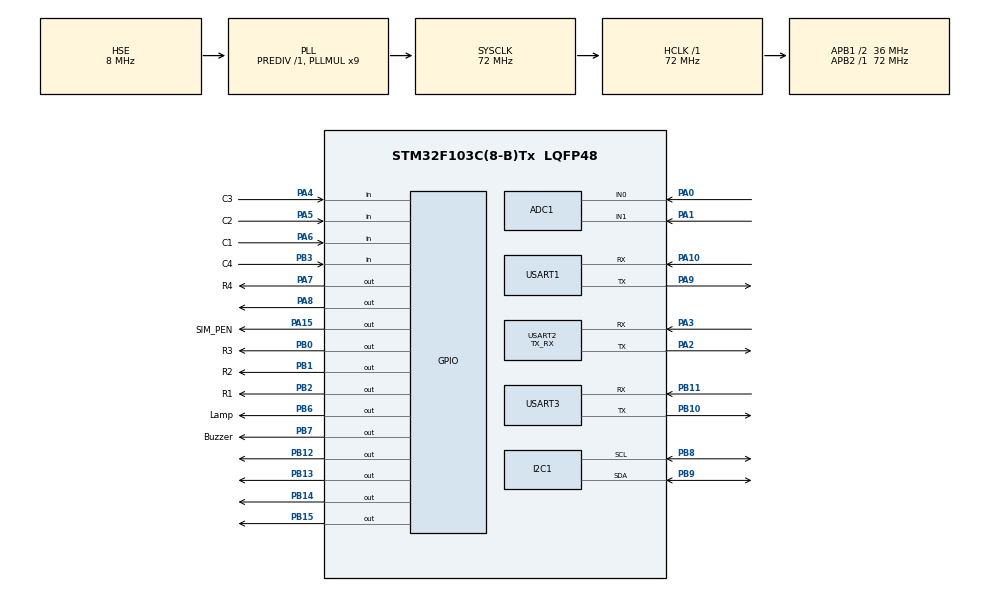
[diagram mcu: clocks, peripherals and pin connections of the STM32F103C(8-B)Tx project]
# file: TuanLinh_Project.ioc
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ADC1.Channel-0\#ChannelRegularConversion=ADC_CHANNEL_0
ADC1.Channel-1\#ChannelRegularConversion=ADC_CHANNEL_1
ADC1.ContinuousConvMode=ENABLE
ADC1.NbrOfConversion=2
ADC1.NbrOfConversionFlag=1
ADC1.Rank-0\#ChannelRegularConversion=1
ADC1.Rank-1\#ChannelRegularConversion=2
ADC1.SamplingTime-0\#ChannelRegularConversion=ADC_SAMPLETIME_239CYCLES_5
ADC1.SamplingTime-1\#ChannelRegularConversion=ADC_SAMPLETIME_239CYCLES_5
ADC1.master=1
Dma.ADC1.0.Direction=DMA_PERIPH_TO_MEMORY
Dma.ADC1.0.Instance=DMA1_Channel1
Dma.ADC1.0.MemDataAlignment=DMA_MDATAALIGN_HALFWORD
Dma.ADC1.0.MemInc=DMA_MINC_ENABLE
Dma.ADC1.0.Mode=DMA_CIRCULAR
Dma.ADC1.0.PeriphDataAlignment=DMA_PDATAALIGN_HALFWORD
Dma.ADC1.0.PeriphInc=DMA_PINC_DISABLE
Dma.ADC1.0.Priority=DMA_PRIORITY_LOW
Dma.Request0=ADC1
Mcu.Family=STM32F1
Mcu.Name=STM32F103C(8-B)Tx
Mcu.Package=LQFP48
NVIC.DMA1_Channel1_IRQn=true\:0\:0\:false\:false\:true\:false\:true\:true
NVIC.PriorityGroup=NVIC_PRIORITYGROUP_4
NVIC.USART1_IRQn=true\:2\:0\:true\:false\:true\:true\:true\:true
NVIC.USART2_IRQn=true\:1\:0\:true\:false\:true\:true\:true\:true
PA0-WKUP.Signal=ADCx_IN0
PA1.Signal=ADCx_IN1
PA10.Mode=Asynchronous
PA10.Signal=USART1_RX
PA13.Mode=Serial_Wire
PA13.Signal=SYS_JTMS-SWDIO
PA14.Mode=Serial_Wire
PA14.Signal=SYS_JTCK-SWCLK
PA15.GPIO_Label=SIM_PEN
PA15.Signal=GPIO_Output
PA2.Mode=Asynchronous
PA2.Signal=USART2_TX
PA3.Mode=Asynchronous
PA3.Signal=USART2_RX
PA4.GPIO_Label=C3
PA4.GPIO_PuPd=GPIO_PULLUP
PA4.Signal=GPIO_Input
PA5.GPIO_Label=C2
PA5.GPIO_PuPd=GPIO_PULLUP
PA5.Signal=GPIO_Input
PA6.GPIO_Label=C1
PA6.GPIO_PuPd=GPIO_PULLUP
PA6.Signal=GPIO_Input
PA7.GPIO_Label=R4
PA7.Signal=GPIO_Output
PA8.GPIO_PuPd=GPIO_PULLDOWN
PA8.Signal=GPIO_Output
PA9.Mode=Asynchronous
PA9.Signal=USART1_TX
PB0.GPIO_Label=R3
PB0.Signal=GPIO_Output
PB1.GPIO_Label=R2
PB1.Signal=GPIO_Output
PB10.Mode=Asynchronous
PB10.Signal=USART3_TX
PB11.Mode=Asynchronous
PB11.Signal=USART3_RX
PB12.GPIO_PuPd=GPIO_PULLDOWN
PB12.Signal=GPIO_Output
PB13.GPIO_PuPd=GPIO_PULLDOWN
PB13.Signal=GPIO_Output
PB14.GPIO_PuPd=GPIO_PULLDOWN
PB14.Signal=GPIO_Output
PB15.GPIO_PuPd=GPIO_PULLDOWN
PB15.Signal=GPIO_Output
PB2.GPIO_Label=R1
PB2.Signal=GPIO_Output
PB3.GPIO_Label=C4
PB3.GPIO_PuPd=GPIO_PULLUP
PB3.Signal=GPIO_Input
PB6.GPIO_Label=Lamp
PB6.Signal=GPIO_Output
PB7.GPIO_Label=Buzzer
PB7.Signal=GPIO_Output
PB8.Mode=I2C
PB8.Signal=I2C1_SCL
PB9.Mode=I2C
PB9.Signal=I2C1_SDA
PD0-OSC_IN.Mode=HSE-External-Oscillator
PD0-OSC_IN.Signal=RCC_OSC_IN
PD1-OSC_OUT.Mode=HSE-External-Oscillator
PD1-OSC_OUT.Signal=RCC_OSC_OUT
ProjectManager.HeapSize=0x200
ProjectManager.StackSize=0x400
ProjectManager.TargetToolchain=MDK-ARM V5.32
RCC.ADCPresc=RCC_ADCPCLK2_DIV6
RCC.AHBFreq_Value=72000000
RCC.APB1CLKDivider=RCC_HCLK_DIV2
RCC.APB1Freq_Value=36000000
RCC.APB1TimFreq_Value=72000000
RCC.APB2Freq_Value=72000000
RCC.APB2TimFreq_Value=72000000
RCC.HCLKFreq_Value=72000000
RCC.PLLMUL=RCC_PLL_MUL9
RCC.PLLSourceVirtual=RCC_PLLSOURCE_HSE
RCC.SYSCLKFreq_VALUE=72000000
RCC.SYSCLKSource=RCC_SYSCLKSOURCE_PLLCLK
RCC.USBFreq_Value=72000000
SH.ADCx_IN0.0=ADC1_IN0,IN0
SH.ADCx_IN1.0=ADC1_IN1,IN1
USART1.VirtualMode=VM_ASYNC
USART2.Mode=MODE_TX_RX
USART2.VirtualMode=VM_ASYNC
USART3.VirtualMode=VM_ASYNC
board=custom

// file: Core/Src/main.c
/* USER CODE BEGIN Header */
/**
  ******************************************************************************
  * @file           : main.c
  * @brief          : Main program body
  ******************************************************************************
  * @attention
  *
  * Copyright (c) 2025 STMicroelectronics.
  * All rights reserved.
  *
  * This software is licensed under terms that can be found in the LICENSE file
  * in the root directory of this software component.
  * If no LICENSE file comes with this software, it is provided AS-IS.
  *
  ******************************************************************************
  */
/* USER CODE END Header */
#include "main.h"

/* USER CODE BEGIN Includes */
#include "zigbee.h"
#include "matrix_button.h"
#include "sim.h"
#include "stdio.h"
#include "string.h"
#include "lcd.h"
#include "display.h"
#include "process_display.h"
/* USER CODE END Includes */

ADC_HandleTypeDef hadc1;
DMA_HandleTypeDef hdma_adc1;

I2C_HandleTypeDef hi2c1;

UART_HandleTypeDef huart1;
UART_HandleTypeDef huart2;
UART_HandleTypeDef huart3;

/* USER CODE BEGIN PV */
I2C_LCD_HandleTypedef lcd;
Detector_Typedef detector1;
Detector_Typedef detector2;
/* USER CODE END PV */

void SystemClock_Config(void);
static void MX_GPIO_Init(void);
static void MX_DMA_Init(void);
static void MX_USART1_UART_Init(void);
static void MX_USART2_UART_Init(void);
static void MX_USART3_UART_Init(void);
static void MX_I2C1_Init(void);
static void MX_ADC1_Init(void);

/* USER CODE BEGIN 0 */
uint8_t zigbee_data_rx;
uint8_t sim_data_rx;
SIM_Status_t flag = SIM_BUSY;
extern uint8_t flag_update;
extern uint8_t temperature;
extern uint8_t smoke;
char phone[3][13] = {"+84942043491", "+84337669826", "            "};
extern char rx_buffer[RX_BUFFER_SIZE];

void HAL_UART_RxCpltCallback(UART_HandleTypeDef *huart) {
    if (huart->Instance == huart2.Instance) {
        zigbee_receive_data(zigbee_data_rx);
				HAL_UART_Receive_IT(&huart2, &zigbee_data_rx, 1);
    }
	if(huart->Instance == huart1.Instance){
		SIM_receive_data();
		HAL_UART_Receive_IT(&huart1, &sim_data_rx, 1);
	}
}
SIM_Status_t send = SIM_BUSY;
uint8_t signal;
uint16_t adc_value[2];
uint32_t time_get_signal;
extern uint8_t warning_flag;
uint8_t flag_get_signal = 0;

void get_signal(void){
	if(flag_get_signal){
		if(send == SIM_OK){
			uint8_t size = strlen(rx_buffer);
			if(size > 16 && size <= 28){
				signal = 0;
				for(uint8_t i=0; i<strlen(rx_buffer); i++){
					if(rx_buffer[i] == ',') return;
					if(rx_buffer[i] >= '0' && rx_buffer[i] <= '9'){
						signal = signal * 10 + (rx_buffer[i] - '0');
					}
				}

			}
		}else{
			signal = 0;
		}
		flag_get_signal = 0;
	}
}

void check_button_manual_press(void){
	if(adc_value[0] >= 250 && adc_value[0] <= 350){
		warning_flag = 1;
		HAL_UART_Transmit(&huart2, (uint8_t*)"1", 1, 1000);
		HAL_NVIC_DisableIRQ(USART2_IRQn);
	}
	if(adc_value[0] >= 1950 && adc_value[0] <= 2050){
		warning_flag = 0;
		HAL_NVIC_EnableIRQ(USART2_IRQn);
		HAL_UART_Transmit(&huart2, (uint8_t*)"0", 1, 1000);
		HAL_UART_Receive_IT(&huart2, &zigbee_data_rx, 1);
	}
}

/* USER CODE END 0 */

int main(void)
{

  /* MCU Configuration--------------------------------------------------------*/

  /* Reset of all peripherals, Initializes the Flash interface and the Systick. */
  HAL_Init();

  /* Configure the system clock */
  SystemClock_Config();

  /* Initialize all configured peripherals */
  MX_GPIO_Init();
  MX_DMA_Init();
  MX_USART1_UART_Init();
  MX_USART2_UART_Init();
  MX_USART3_UART_Init();
  MX_I2C1_Init();
  MX_ADC1_Init();
  /* USER CODE BEGIN 2 */
	process_display_init();
	detect_init(&detector1);
	detect_init(&detector2);
	lcd_init(&lcd, &hi2c1, LCD_ADDRESS);
	flag = SIM_Init();
	HAL_UART_Receive_IT(&huart2, &zigbee_data_rx, 1);
	HAL_ADC_Start_DMA(&hadc1, (uint32_t*)adc_value, 2);

	time_get_signal = HAL_GetTick();
	lcd_clear(&lcd);
	send = SIM_CheckSignalQuality();
	flag_get_signal = 1;
  /* USER CODE END 2 */

  /* Infinite loop */
  while (1)
  {

    /* USER CODE BEGIN 3 */
		Display_line1(signal, adc_value[1]);
		process_display();
		check_button_manual_press();
		Keypad_Handle();
		zigbee_handle();
		if(HAL_GetTick() - time_get_signal >= 1000){
			send = SIM_CheckSignalQuality();
			flag_get_signal = 1;
			time_get_signal = HAL_GetTick();
		}
		get_signal();
		HAL_Delay(10);
  }
  /* USER CODE END 3 */
}

void SystemClock_Config(void)
{
  RCC_OscInitTypeDef RCC_OscInitStruct = {0};
  RCC_ClkInitTypeDef RCC_ClkInitStruct = {0};
  RCC_PeriphCLKInitTypeDef PeriphClkInit = {0};

  /** Initializes the RCC Oscillators according to the specified parameters
  * in the RCC_OscInitTypeDef structure.
  */
  RCC_OscInitStruct.OscillatorType = RCC_OSCILLATORTYPE_HSE;
  RCC_OscInitStruct.HSEState = RCC_HSE_ON;
  RCC_OscInitStruct.HSEPredivValue = RCC_HSE_PREDIV_DIV1;
  RCC_OscInitStruct.HSIState = RCC_HSI_ON;
  RCC_OscInitStruct.PLL.PLLState = RCC_PLL_ON;
  RCC_OscInitStruct.PLL.PLLSource = RCC_PLLSOURCE_HSE;
  RCC_OscInitStruct.PLL.PLLMUL = RCC_PLL_MUL9;
  if (HAL_RCC_OscConfig(&RCC_OscInitStruct) != HAL_OK)
  {
    Error_Handler();
  }

  /** Initializes the CPU, AHB and APB buses clocks
  */
  RCC_ClkInitStruct.ClockType = RCC_CLOCKTYPE_HCLK|RCC_CLOCKTYPE_SYSCLK
                              |RCC_CLOCKTYPE_PCLK1|RCC_CLOCKTYPE_PCLK2;
  RCC_ClkInitStruct.SYSCLKSource = RCC_SYSCLKSOURCE_PLLCLK;
  RCC_ClkInitStruct.AHBCLKDivider = RCC_SYSCLK_DIV1;
  RCC_ClkInitStruct.APB1CLKDivider = RCC_HCLK_DIV2;
  RCC_ClkInitStruct.APB2CLKDivider = RCC_HCLK_DIV1;

  if (HAL_RCC_ClockConfig(&RCC_ClkInitStruct, FLASH_LATENCY_2) != HAL_OK)
  {
    Error_Handler();
  }
  PeriphClkInit.PeriphClockSelection = RCC_PERIPHCLK_ADC;
  PeriphClkInit.AdcClockSelection = RCC_ADCPCLK2_DIV6;
  if (HAL_RCCEx_PeriphCLKConfig(&PeriphClkInit) != HAL_OK)
  {
    Error_Handler();
  }
}

static void MX_ADC1_Init(void)
{

  ADC_ChannelConfTypeDef sConfig = {0};

  /** Common config
  */
  hadc1.Instance = ADC1;
  hadc1.Init.ScanConvMode = ADC_SCAN_ENABLE;
  hadc1.Init.ContinuousConvMode = ENABLE;
  hadc1.Init.DiscontinuousConvMode = DISABLE;
  hadc1.Init.ExternalTrigConv = ADC_SOFTWARE_START;
  hadc1.Init.DataAlign = ADC_DATAALIGN_RIGHT;
  hadc1.Init.NbrOfConversion = 2;
  if (HAL_ADC_Init(&hadc1) != HAL_OK)
  {
    Error_Handler();
  }

  /** Configure Regular Channel
  */
  sConfig.Channel = ADC_CHANNEL_0;
  sConfig.Rank = ADC_REGULAR_RANK_1;
  sConfig.SamplingTime = ADC_SAMPLETIME_239CYCLES_5;
  if (HAL_ADC_ConfigChannel(&hadc1, &sConfig) != HAL_OK)
  {
    Error_Handler();
  }

  /** Configure Regular Channel
  */
  sConfig.Channel = ADC_CHANNEL_1;
  sConfig.Rank = ADC_REGULAR_RANK_2;
  if (HAL_ADC_ConfigChannel(&hadc1, &sConfig) != HAL_OK)
  {
    Error_Handler();
  }

}

static void MX_I2C1_Init(void)
{

  hi2c1.Instance = I2C1;
  hi2c1.Init.ClockSpeed = 100000;
  hi2c1.Init.DutyCycle = I2C_DUTYCYCLE_2;
  hi2c1.Init.OwnAddress1 = 0;
  hi2c1.Init.AddressingMode = I2C_ADDRESSINGMODE_7BIT;
  hi2c1.Init.DualAddressMode = I2C_DUALADDRESS_DISABLE;
  hi2c1.Init.OwnAddress2 = 0;
  hi2c1.Init.GeneralCallMode = I2C_GENERALCALL_DISABLE;
  hi2c1.Init.NoStretchMode = I2C_NOSTRETCH_DISABLE;
  if (HAL_I2C_Init(&hi2c1) != HAL_OK)
  {
    Error_Handler();
  }

}

static void MX_USART1_UART_Init(void)
{

  huart1.Instance = USART1;
  huart1.Init.BaudRate = 115200;
  huart1.Init.WordLength = UART_WORDLENGTH_8B;
  huart1.Init.StopBits = UART_STOPBITS_1;
  huart1.Init.Parity = UART_PARITY_NONE;
  huart1.Init.Mode = UART_MODE_TX_RX;
  huart1.Init.HwFlowCtl = UART_HWCONTROL_NONE;
  huart1.Init.OverSampling = UART_OVERSAMPLING_16;
  if (HAL_UART_Init(&huart1) != HAL_OK)
  {
    Error_Handler();
  }

}

static void MX_USART2_UART_Init(void)
{

  huart2.Instance = USART2;
  huart2.Init.BaudRate = 115200;
  huart2.Init.WordLength = UART_WORDLENGTH_8B;
  huart2.Init.StopBits = UART_STOPBITS_1;
  huart2.Init.Parity = UART_PARITY_NONE;
  huart2.Init.Mode = UART_MODE_TX_RX;
  huart2.Init.HwFlowCtl = UART_HWCONTROL_NONE;
  huart2.Init.OverSampling = UART_OVERSAMPLING_16;
  if (HAL_UART_Init(&huart2) != HAL_OK)
  {
    Error_Handler();
  }

}

static void MX_USART3_UART_Init(void)
{

  huart3.Instance = USART3;
  huart3.Init.BaudRate = 115200;
  huart3.Init.WordLength = UART_WORDLENGTH_8B;
  huart3.Init.StopBits = UART_STOPBITS_1;
  huart3.Init.Parity = UART_PARITY_NONE;
  huart3.Init.Mode = UART_MODE_TX_RX;
  huart3.Init.HwFlowCtl = UART_HWCONTROL_NONE;
  huart3.Init.OverSampling = UART_OVERSAMPLING_16;
  if (HAL_UART_Init(&huart3) != HAL_OK)
  {
    Error_Handler();
  }

}

static void MX_DMA_Init(void)
{

  /* DMA controller clock enable */
  __HAL_RCC_DMA1_CLK_ENABLE();

  /* DMA interrupt init */
  /* DMA1_Channel1_IRQn interrupt configuration */
  HAL_NVIC_SetPriority(DMA1_Channel1_IRQn, 0, 0);
  HAL_NVIC_EnableIRQ(DMA1_Channel1_IRQn);

}

static void MX_GPIO_Init(void)
{
  GPIO_InitTypeDef GPIO_InitStruct = {0};

  /* GPIO Ports Clock Enable */
  __HAL_RCC_GPIOD_CLK_ENABLE();
  __HAL_RCC_GPIOA_CLK_ENABLE();
  __HAL_RCC_GPIOB_CLK_ENABLE();

  /*Configure GPIO pin Output Level */
  HAL_GPIO_WritePin(GPIOA, R4_Pin|GPIO_PIN_8|SIM_PEN_Pin, GPIO_PIN_RESET);

  /*Configure GPIO pin Output Level */
  HAL_GPIO_WritePin(GPIOB, R3_Pin|R2_Pin|R1_Pin|GPIO_PIN_12
                          |GPIO_PIN_13|GPIO_PIN_14|GPIO_PIN_15|Lamp_Pin
                          |Buzzer_Pin, GPIO_PIN_RESET);

  /*Configure GPIO pins : C3_Pin C2_Pin C1_Pin */
  GPIO_InitStruct.Pin = C3_Pin|C2_Pin|C1_Pin;
  GPIO_InitStruct.Mode = GPIO_MODE_INPUT;
  GPIO_InitStruct.Pull = GPIO_PULLUP;
  HAL_GPIO_Init(GPIOA, &GPIO_InitStruct);

  /*Configure GPIO pins : R4_Pin SIM_PEN_Pin */
  GPIO_InitStruct.Pin = R4_Pin|SIM_PEN_Pin;
  GPIO_InitStruct.Mode = GPIO_MODE_OUTPUT_PP;
  GPIO_InitStruct.Pull = GPIO_NOPULL;
  GPIO_InitStruct.Speed = GPIO_SPEED_FREQ_LOW;
  HAL_GPIO_Init(GPIOA, &GPIO_InitStruct);

  /*Configure GPIO pins : R3_Pin R2_Pin R1_Pin Lamp_Pin
                           Buzzer_Pin */
  GPIO_InitStruct.Pin = R3_Pin|R2_Pin|R1_Pin|Lamp_Pin
                          |Buzzer_Pin;
  GPIO_InitStruct.Mode = GPIO_MODE_OUTPUT_PP;
  GPIO_InitStruct.Pull = GPIO_NOPULL;
  GPIO_InitStruct.Speed = GPIO_SPEED_FREQ_LOW;
  HAL_GPIO_Init(GPIOB, &GPIO_InitStruct);

  /*Configure GPIO pins : PB12 PB13 PB14 PB15 */
  GPIO_InitStruct.Pin = GPIO_PIN_12|GPIO_PIN_13|GPIO_PIN_14|GPIO_PIN_15;
  GPIO_InitStruct.Mode = GPIO_MODE_OUTPUT_PP;
  GPIO_InitStruct.Pull = GPIO_PULLDOWN;
  GPIO_InitStruct.Speed = GPIO_SPEED_FREQ_LOW;
  HAL_GPIO_Init(GPIOB, &GPIO_InitStruct);

  /*Configure GPIO pin : PA8 */
  GPIO_InitStruct.Pin = GPIO_PIN_8;
  GPIO_InitStruct.Mode = GPIO_MODE_OUTPUT_PP;
  GPIO_InitStruct.Pull = GPIO_PULLDOWN;
  GPIO_InitStruct.Speed = GPIO_SPEED_FREQ_LOW;
  HAL_GPIO_Init(GPIOA, &GPIO_InitStruct);

  /*Configure GPIO pin : C4_Pin */
  GPIO_InitStruct.Pin = C4_Pin;
  GPIO_InitStruct.Mode = GPIO_MODE_INPUT;
  GPIO_InitStruct.Pull = GPIO_PULLUP;
  HAL_GPIO_Init(C4_GPIO_Port, &GPIO_InitStruct);

}

void Error_Handler(void)
{
  __disable_irq();
  while (1)
  {
  }
}
